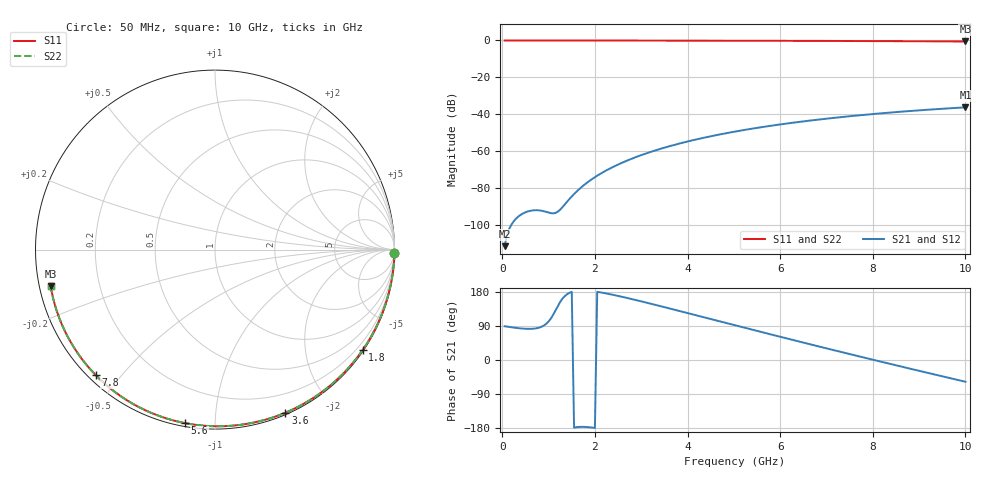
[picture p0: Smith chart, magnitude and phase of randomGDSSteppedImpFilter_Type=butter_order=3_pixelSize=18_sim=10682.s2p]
! freq	dB(S11)	phase(S11)	dB(S12)	phase(S12)
!  dB(S21)	phase(S21)	dB(S22)	phase(S22)
!S-par simulation data
#  GHz  S  DB  R 50
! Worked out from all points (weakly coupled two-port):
!   200 points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, 50 MHz to 10 GHz, reference 50 ohm
!   highest |S21| = -36.29 dB at 10 GHz (marker M1); lowest = -111.6 dB at 50 MHz (marker M2)
!   lowest |S11| = -0.6 dB at 10 GHz (marker M3), VSWR 31.29, Z = 1.62 - j5.54 ohm
!   |S11| at or under -10 dB: nowhere
!   |S22| runs from -0.6 to 0.0 dB; largest |S21 - S12| = 0
!   S11 on the Smith chart (normalised r, x): 50 MHz: open; 1.8 GHz: 0.03, -3.24; 3.6 GHz: 0.02, -1.52; 5.6 GHz: 0.02, -0.84; 7.8 GHz: 0.02, -0.43; 10 GHz: 0.03, -0.11
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0.05  -0.00 -1.0  -111.56 89.1  -111.56 89.1  -0.00 -1.0
0.45  -0.01 -8.7  -93.78 82.8  -93.78 82.8  -0.01 -8.7
0.85  -0.02 -16.4  -92.35 87.9  -92.35 87.9  -0.02 -16.4
1.65  -0.04 -31.5  -80.86 -176.7  -80.86 -176.7  -0.04 -31.5
1.7  -0.04 -32.4  -79.75 -176.4  -79.75 -176.4  -0.04 -32.4
1.75  -0.04 -33.4  -78.70 -176.4  -78.70 -176.4  -0.04 -33.4
1.8  -0.04 -34.3  -77.70 -176.7  -77.70 -176.7  -0.04 -34.3
2.1  -0.05 -39.9  -72.57 178.9  -72.57 178.9  -0.05 -39.9
2.3  -0.06 -43.5  -69.76 174.3  -69.76 174.3  -0.06 -43.5
2.5  -0.06 -47.2  -67.30 169.1  -67.30 169.1  -0.06 -47.2
2.9  -0.07 -54.4  -63.12 157.8  -63.12 157.8  -0.07 -54.4
3.4  -0.08 -63.2  -58.89 142.6  -58.89 142.6  -0.08 -63.2
3.6  -0.09 -66.7  -57.42 136.4  -57.42 136.4  -0.09 -66.7
4.3  -0.11 -78.6  -53.04 114.5  -53.04 114.5  -0.11 -78.6
5.05  -0.14 -90.9  -49.30 90.9  -49.30 90.9  -0.14 -90.9
5.6  -0.17 -99.8  -47.01 73.7  -47.01 73.7  -0.17 -99.8
6.15  -0.19 -108.4  -45.02 56.7  -45.02 56.7  -0.19 -108.4
6.7  -0.23 -116.9  -43.28 39.8  -43.28 39.8  -0.23 -116.9
7.8  -0.31 -133.6  -40.37 6.7  -40.37 6.7  -0.31 -133.6
8.35  -0.36 -141.9  -39.16 -9.6  -39.16 -9.6  -0.36 -141.9
9.2  -0.46 -154.9  -37.54 -34.4  -37.54 -34.4  -0.46 -154.9
10  -0.56 -167.3  -36.29 -57.4  -36.29 -57.4  -0.56 -167.3
